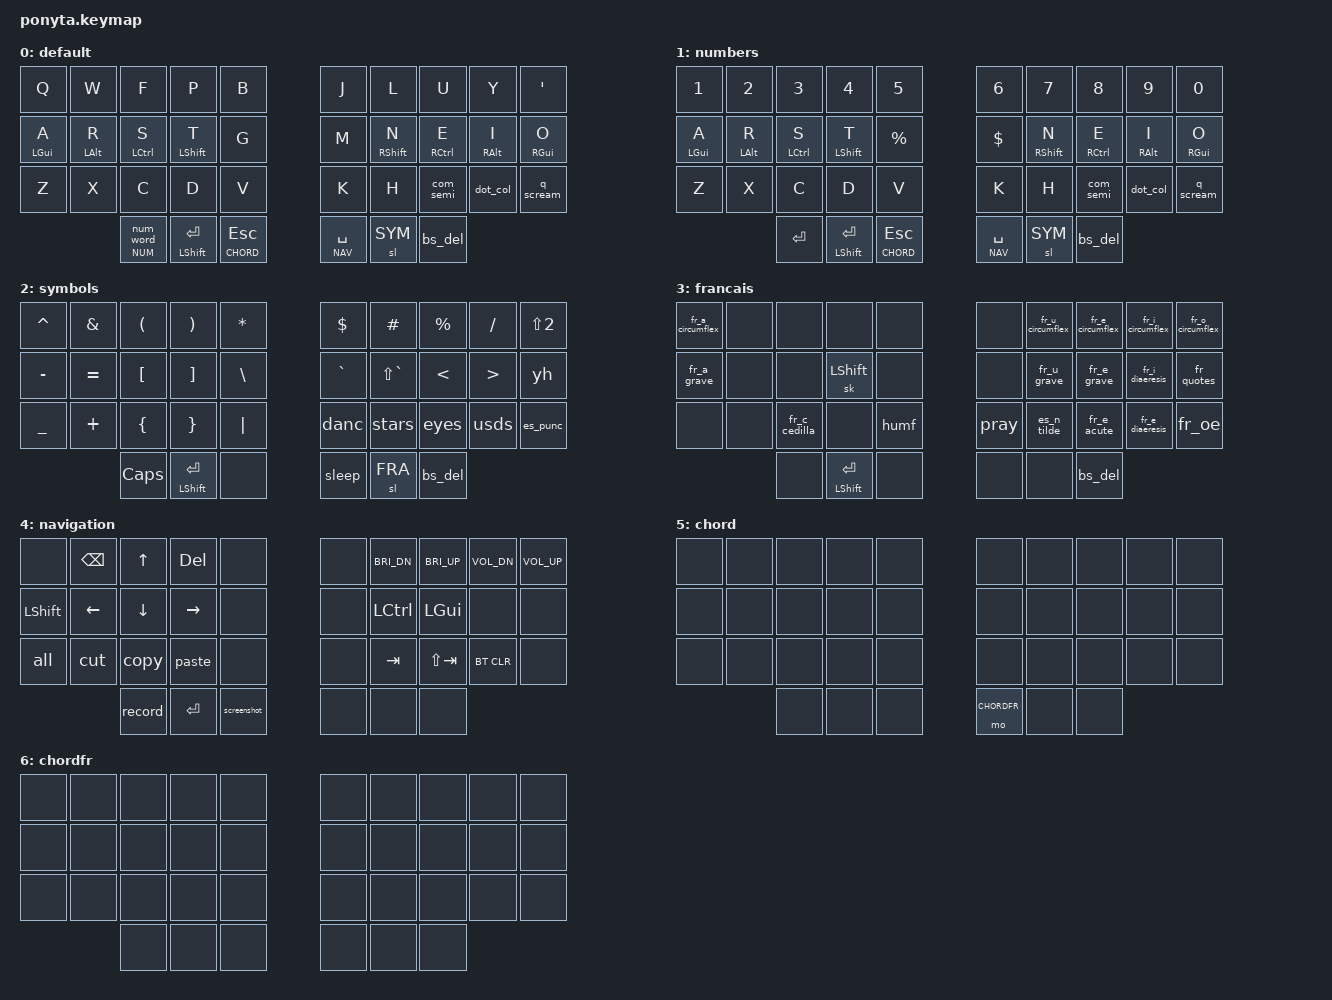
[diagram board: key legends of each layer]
/*
 * Copyright (c) 2020 The ZMK Contributors
 *
 * SPDX-License-Identifier: MIT
 */
#pragma once

#include <behaviors.dtsi>
#include <behaviors/num_word.dtsi>
#include <dt-bindings/zmk/keys.h>
#include <dt-bindings/zmk/bt.h>
#include <dt-bindings/zmk/outputs.h>
#include "key-labels/36.h"

#include "unicode-chars/base.h"
#include "unicode-chars/currency.dtsi"
#include "unicode-chars/french.dtsi"
#include "unicode-chars/spanish.dtsi"
#include "unicode-chars/greek.dtsi"
#include "unicode-chars/symbols.dtsi"

#define DEF 0
#define NUM 1
#define SYM 2
#define FRA 3
#define NAV 4
#define CHORD 5
#define CHORDFR 6

#define KEYS_L LT0 LT1 LT2 LT3 LT4 LM0 LM1 LM2 LM3 LM4 LB0 LB1 LB2 LB3 LB4  // left-hand keys
#define KEYS_R RT0 RT1 RT2 RT3 RT4 RM0 RM1 RM2 RM3 RM4 RB0 RB1 RB2 RB3 RB4  // right-hand keys
#define THUMBS LH2 LH1 LH0 RH0 RH1 RH2     

#define QUICK_TAP_MS 175 // 10500/wpm

#define AS(keycode) &as LS(keycode) keycode

&num_word {  // num-word, requires PR #1451
    layers = <NUM>;
    continue-list = <BSPC DEL DOT COMMA PLUS MINUS STAR FSLH EQUAL>;
};

&sl {
  ignore-modifiers;
};

#define SMART_NUM &smart_num NUM 0
#define ENTER_SHIFT &enter_shift LSHIFT RET
#define SPACE_NAV &space_nav NAV SPACE
#define ESC_CHORD &esc_chord CHORD ESC

/ {
    macros {
        all: all {
            compatible = "zmk,behavior-macro";
            wait-ms = <5>;
            tap-ms = <5>;
            #binding-cells = <0>;
            bindings
                = <&macro_press &kp LGUI>
                , <&macro_tap &kp A>
                , <&macro_release &kp LGUI>
                ;
        };
        cut: cut {
            compatible = "zmk,behavior-macro";
            wait-ms = <5>;
            tap-ms = <5>;
            #binding-cells = <0>;
            bindings
                = <&macro_press &kp LGUI>
                , <&macro_tap &kp X>
                , <&macro_release &kp LGUI>
                ;
        };
        copy: copy {
            compatible = "zmk,behavior-macro";
            wait-ms = <5>;
            tap-ms = <5>;
            #binding-cells = <0>;
            bindings
                = <&macro_press &kp LGUI>
                , <&macro_tap &kp C>
                , <&macro_release &kp LGUI>
                ;
        };
        paste: paste {
            compatible = "zmk,behavior-macro";
            wait-ms = <5>;
            tap-ms = <5>;
            #binding-cells = <0>;
            bindings
                = <&macro_press &kp LGUI>
                , <&macro_tap &kp V>
                , <&macro_release &kp LGUI>
                ;
        };
        email: email {
            compatible = "zmk,behavior-macro";
            wait-ms = <5>;
            tap-ms = <5>;
            #binding-cells = <0>;
            bindings
                = <&macro_tap &kp O &kp L &kp I &kp V &kp I &kp E &kp R>
                , <&macro_tap &kp AT>
                , <&macro_tap &kp G &kp L &kp O>
                , <&macro_tap &kp DOT>
                , <&macro_tap &kp Q &kp U &kp E &kp B &kp E &kp C>
                ;
        };
        sleep: sleep {
            compatible = "zmk,behavior-macro";
            wait-ms = <5>;
            tap-ms = <5>;
            #binding-cells = <0>;
            bindings
                = <&macro_press &kp LGUI &kp LCTRL>
                , <&macro_tap &kp Q>
                , <&macro_release &kp LGUI &kp LCTRL>
                ;
        };
        screenshot: screenshot {
            compatible = "zmk,behavior-macro";
            wait-ms = <5>;
            tap-ms = <5>;
            #binding-cells = <0>;
            bindings
                = <&macro_press &kp LGUI &kp LSHFT &kp N4>
                , <&macro_release &kp LGUI &kp LSHFT &kp N4>
                ;
        };
        record: record {
            compatible = "zmk,behavior-macro";
            wait-ms = <5>;
            tap-ms = <5>;
            #binding-cells = <0>;
            bindings
                = <&macro_press &kp LGUI &kp LSHFT &kp N5>
                , <&macro_release &kp LGUI &kp LSHFT &kp N5>
                ;
        };
        m_the: m_the {
            compatible = "zmk,behavior-macro";
            wait-ms = <10>;
            tap-ms = <0>;
            #binding-cells = <0>;
            bindings = <&kp T &kp H &kp E &kp SPACE>;
        };
    };
    combos {
        compatible = "zmk,combos";
          combo_m_the {
            timeout-ms = <200>;
            key-positions = <RM1>;
            bindings = <&m_the>;
            layers = <CHORD>;
          };
    };
    behaviors {
        as: auto_shift {
            compatible = "zmk,behavior-hold-tap";
            #binding-cells = <2>;
            tapping_term_ms = <135>;
            quick_tap_ms = <0>;
            flavor = "tap-preferred";
            bindings = <&kp>, <&kp>;
        };
        bs_del: bs_del {
            compatible = "zmk,behavior-mod-morph";
            #binding-cells = <0>;
            bindings = <&kp BACKSPACE>, <&kp DELETE>;
            mods = <(MOD_LSFT|MOD_RSFT)>;
        };
        com_semi: com_semi {
            compatible = "zmk,behavior-mod-morph";
            #binding-cells = <0>;
            bindings = <&kp COMMA>, <&comma_inner>;
            mods = <(MOD_LSFT|MOD_RSFT)>;
        };
        comma_inner: comma_inner {
            compatible = "zmk,behavior-mod-morph";
            #binding-cells = <0>;
            bindings = <&kp SEMICOLON>, <&kp LESS_THAN>;
            mods = <(MOD_LCTL|MOD_RCTL)>;
        };
        dot_col: dot_col {
            compatible = "zmk,behavior-mod-morph";
            #binding-cells = <0>;
            bindings = <&kp DOT>, <&dot_inner>;
            mods = <(MOD_LSFT|MOD_RSFT)>;
        };
        dot_inner: dot_inner {
            compatible = "zmk,behavior-mod-morph";
            #binding-cells = <0>;
            bindings = <&kp COLON>, <&kp GREATER_THAN>;
            mods = <(MOD_LCTL|MOD_RCTL)>;
        };
        q_scream: q_scream {
            compatible = "zmk,behavior-mod-morph";
            #binding-cells = <0>;
            bindings = <&kp QMARK>, <&kp EXCL>;
            mods = <(MOD_LSFT|MOD_RSFT)>;
        };
        hml: hml {
            compatible = "zmk,behavior-hold-tap";
            flavor = "balanced";
            #binding-cells = <2>;
            tapping-term-ms = <280>;
            quick-tap-ms = <QUICK_TAP_MS>;
            require-prior-idle-ms = <150>;
            bindings = <&kp>, <&kp>;
            hold-trigger-key-positions = <KEYS_R THUMBS>;
            hold-trigger-on-release;  
        };
        hmr: hmr {
            compatible = "zmk,behavior-hold-tap";
            flavor = "balanced";
            #binding-cells = <2>;
            tapping-term-ms = <280>;
            quick-tap-ms = <QUICK_TAP_MS>;
            require-prior-idle-ms = <150>;
            bindings = <&kp>, <&kp>;
            hold-trigger-key-positions = <KEYS_L THUMBS>;
            hold-trigger-on-release;     
        };
        enter_shift: enter_shift {
            compatible = "zmk,behavior-hold-tap";
            flavor = "balanced";
            #binding-cells = <2>;
            tapping-term-ms = <200>;
            quick-tap-ms = <QUICK_TAP_MS>;
            bindings = <&kp>, <&kp>;
        };
        smart_num: smart_num {
            compatible = "zmk,behavior-hold-tap";
            flavor = "balanced";
            #binding-cells = <2>;
            tapping-term-ms = <200>;
            quick-tap-ms = <QUICK_TAP_MS>;
            bindings = <&mo>, <&num_word>;
        };
        space_nav: space_nav {
            compatible = "zmk,behavior-hold-tap";
            flavor = "balanced";
            #binding-cells = <2>;
            tapping-term-ms = <300>;
            quick-tap-ms = <QUICK_TAP_MS>;
            bindings = <&mo>, <&kp>;
        };
        esc_chord: esc_chord {
            compatible = "zmk,behavior-hold-tap";
            flavor = "balanced";
            #binding-cells = <2>;
            tapping-term-ms = <300>;
            quick-tap-ms = <QUICK_TAP_MS>;
            bindings = <&mo>, <&kp>;
        };
    };
    keymap {
            compatible = "zmk,keymap";
            default {
                    bindings = <
     // ╭─────────────┬─────────────┬─────────────┬─────────────┬─────────────╮   ╭─────────────┬─────────────┬─────────────┬─────────────┬─────────────╮
          &kp Q         &kp W         &kp F         &kp P         &kp B             &kp J         &kp L         &kp U         &kp Y         &kp SQT
     // ├─────────────┼─────────────┼─────────────┼─────────────┼─────────────┤   ├─────────────┼─────────────┼─────────────┼─────────────┼─────────────┤
          &hml LGUI A   &hml LALT R   &hml LCTRL S  &hml LSHFT T  &kp G             &kp M         &hmr RSHFT N  &hmr RCTRL E  &hmr RALT I   &hmr RGUI O
     // ├─────────────┼─────────────┼─────────────┼─────────────┼─────────────┤   ├─────────────┼─────────────┼─────────────┼─────────────┼─────────────┤
          &kp Z         &kp X         &kp C         &kp D         &kp V             &kp K         &kp H         &com_semi     &dot_col       &q_scream
     // ╰─────────────┴─────────────┼─────────────┼─────────────┼─────────────┤   ├─────────────┼─────────────┼─────────────┼─────────────┴-────────────╯
                                      SMART_NUM     ENTER_SHIFT    ESC_CHORD          SPACE_NAV     &sl SYM       &bs_del
     //                             ╰─────────────┴─────────────┴─────────────╯   ╰─────────────┴─────────────┴─────────────╯
                    >;
            };
            numbers {
                    bindings = <
     // ╭─────────────┬─────────────┬─────────────┬─────────────┬─────────────╮   ╭─────────────┬─────────────┬─────────────┬─────────────┬─────────────╮
          &kp N1        &kp N2        &kp N3        &kp N4        &kp N5            &kp N6        &kp N7        &kp N8        &kp N9        &kp N0
     // ├─────────────┼─────────────┼─────────────┼─────────────┼─────────────┤   ├─────────────┼─────────────┼─────────────┼─────────────┼─────────────┤
          &hml LGUI A   &hml LALT R   &hml LCTRL S  &hml LSHFT T  &kp PRCNT         &kp DLLR      &hmr RSHFT N  &hmr RCTRL E  &hmr RALT I   &hmr RGUI O
     // ├─────────────┼─────────────┼─────────────┼─────────────┼─────────────┤   ├─────────────┼─────────────┼─────────────┼─────────────┼─────────────┤
          &kp Z         &kp X         &kp C         &kp D         &kp V             &kp K         &kp H         &com_semi     &dot_col       &q_scream
     // ╰─────────────┴─────────────┼─────────────┼─────────────┼─────────────┤   ├─────────────┼─────────────┼─────────────┼─────────────┴-────────────╯
                                      &kp RET       ENTER_SHIFT    ESC_CHORD           SPACE_NAV     &sl SYM       &bs_del
     //                             ╰─────────────┴─────────────┴─────────────╯   ╰─────────────┴─────────────┴─────────────╯
                    >;
            };
            symbols {
                    bindings = <
     // ╭─────────────┬─────────────┬─────────────┬─────────────┬─────────────╮   ╭─────────────┬─────────────┬─────────────┬─────────────┬─────────────╮
          &kp CARET     &kp AMPS      &kp LPAR      &kp RPAR      &kp STAR          &kp DLLR      &kp HASH      &kp PRCNT     &kp FSLH      &kp LS(N2)
     // ├─────────────┼─────────────┼─────────────┼─────────────┼─────────────┤   ├─────────────┼─────────────┼─────────────┼─────────────┼─────────────┤
          &kp MINUS     &kp EQUAL     &kp LBKT      &kp RBKT      &kp BSLH          &kp GRAVE      &kp LS(GRAVE)  &kp LESS_THAN &kp GREATER_THAN &yh
     // ├─────────────┼─────────────┼─────────────┼─────────────┼─────────────┤   ├─────────────┼─────────────┼─────────────┼─────────────┼─────────────┤
          &kp UNDER     &kp PLUS      &kp LBRC      &kp RBRC      &kp PIPE            &danc         &stars        &eyes          &usds        &es_punc
     // ╰─────────────┴─────────────┼─────────────┼─────────────┼─────────────┤   ├─────────────┼─────────────┼─────────────┼─────────────┴-────────────╯
                                      &kp CAPS       ENTER_SHIFT     &none            &sleep        &sl FRA       &bs_del
     //                             ╰─────────────┴─────────────┴─────────────╯   ╰─────────────┴─────────────┴─────────────╯
                    >;
            };
            francais {
                    bindings = <
     // ╭─────────────┬─────────────┬─────────────┬─────────────┬─────────────╮   ╭─────────────┬─────────────┬─────────────┬─────────────┬─────────────╮
          &fr_a_circumflex &none         &none         &none         &none             &none      &fr_u_circumflex &fr_e_circumflex &fr_i_circumflex &fr_o_circumflex
     // ├─────────────┼─────────────┼─────────────┼─────────────┼─────────────┤   ├─────────────┼─────────────┼─────────────┼─────────────┼─────────────┤
          &fr_a_grave      &none         &none         &sk LSHFT     &none             &none       &fr_u_grave  &fr_e_grave  &fr_i_diaeresis &fr_quotes
     // ├─────────────┼─────────────┼─────────────┼─────────────┼─────────────┤   ├─────────────┼─────────────┼─────────────┼─────────────┼─────────────┤
             &none         &none         &fr_c_cedilla &none         &humf             &pray       &es_n_tilde  &fr_e_acute  &fr_e_diaeresis   &fr_oe
     // ╰─────────────┴─────────────┼─────────────┼─────────────┼─────────────┤   ├─────────────┼─────────────┼─────────────┼─────────────┴-────────────╯
                                         &none      ENTER_SHIFT      &none             &none         &none         &bs_del
     //                             ╰─────────────┴─────────────┴─────────────╯   ╰─────────────┴─────────────┴─────────────╯
                    >;
            };
            navigation {
                    bindings = <
     // ╭─────────────┬─────────────┬─────────────┬─────────────┬─────────────╮   ╭─────────────┬─────────────┬─────────────┬─────────────┬─────────────╮
          &none         &kp BSPC       &kp UP         &kp DEL         &none           &none     &kp C_BRI_DN    &kp C_BRI_UP   &kp K_VOL_DN &kp K_VOL_UP
     // ├─────────────┼─────────────┼─────────────┼─────────────┼─────────────┤   ├─────────────┼─────────────┼─────────────┼─────────────┼─────────────┤
          &kp LSHFT     &kp LEFT      &kp DOWN         &kp RIGHT    &none             &none       &kp LCTRL     &kp LGUI         &none       &none
     // ├─────────────┼─────────────┼─────────────┼─────────────┼─────────────┤   ├─────────────┼─────────────┼─────────────┼─────────────┼─────────────┤
          &all         &cut          &copy          &paste        &none             &none         &kp TAB      &kp LS(TAB)     &bt BT_CLR      &none
     // ╰─────────────┴─────────────┼─────────────┼─────────────┼─────────────┤   ├─────────────┼─────────────┼─────────────┼─────────────┴-────────────╯
                                         &record     &kp RET    &screenshot         &none         &none         &none
     //                             ╰─────────────┴─────────────┴─────────────╯   ╰─────────────┴─────────────┴─────────────╯
                    >;
            };
            chord {
                    bindings = <
     // ╭─────────────┬─────────────┬─────────────┬─────────────┬─────────────╮   ╭─────────────┬─────────────┬─────────────┬─────────────┬─────────────╮
          &none         &none           &none         &none         &none                 &none       &none        &none          &none        &none
     // ├─────────────┼─────────────┼─────────────┼─────────────┼─────────────┤   ├─────────────┼─────────────┼─────────────┼─────────────┼─────────────┤
          &none          &none      &none         &none            &none             &none         &none          &none         &none         &none
     // ├─────────────┼─────────────┼─────────────┼─────────────┼─────────────┤   ├─────────────┼─────────────┼─────────────┼─────────────┼─────────────┤
          &none         &none         &none         &none         &none               &none         &none         &none         &none         &none
     // ╰─────────────┴─────────────┼─────────────┼─────────────┼─────────────┤   ├─────────────┼─────────────┼─────────────┼─────────────┴-────────────╯
                                         &none     &none                 &none       &mo CHORDFR     &none         &none
     //                             ╰─────────────┴─────────────┴─────────────╯   ╰─────────────┴─────────────┴─────────────╯
                    >;
            };
            chordfr {
                    bindings = <
     // ╭─────────────┬─────────────┬─────────────┬─────────────┬─────────────╮   ╭─────────────┬─────────────┬─────────────┬─────────────┬─────────────╮
          &none         &none           &none         &none         &none                 &none       &none        &none          &none        &none
     // ├─────────────┼─────────────┼─────────────┼─────────────┼─────────────┤   ├─────────────┼─────────────┼─────────────┼─────────────┼─────────────┤
          &none          &none      &none         &none            &none             &none         &none          &none         &none         &none
     // ├─────────────┼─────────────┼─────────────┼─────────────┼─────────────┤   ├─────────────┼─────────────┼─────────────┼─────────────┼─────────────┤
          &none         &none         &none         &none         &none               &none         &none         &none         &none         &none
     // ╰─────────────┴─────────────┼─────────────┼─────────────┼─────────────┤   ├─────────────┼─────────────┼─────────────┼─────────────┴-────────────╯
                                         &none     &none                 &none         &none          &none         &none
     //                             ╰─────────────┴─────────────┴─────────────╯   ╰─────────────┴─────────────┴─────────────╯
                    >;
            };
    };
};
